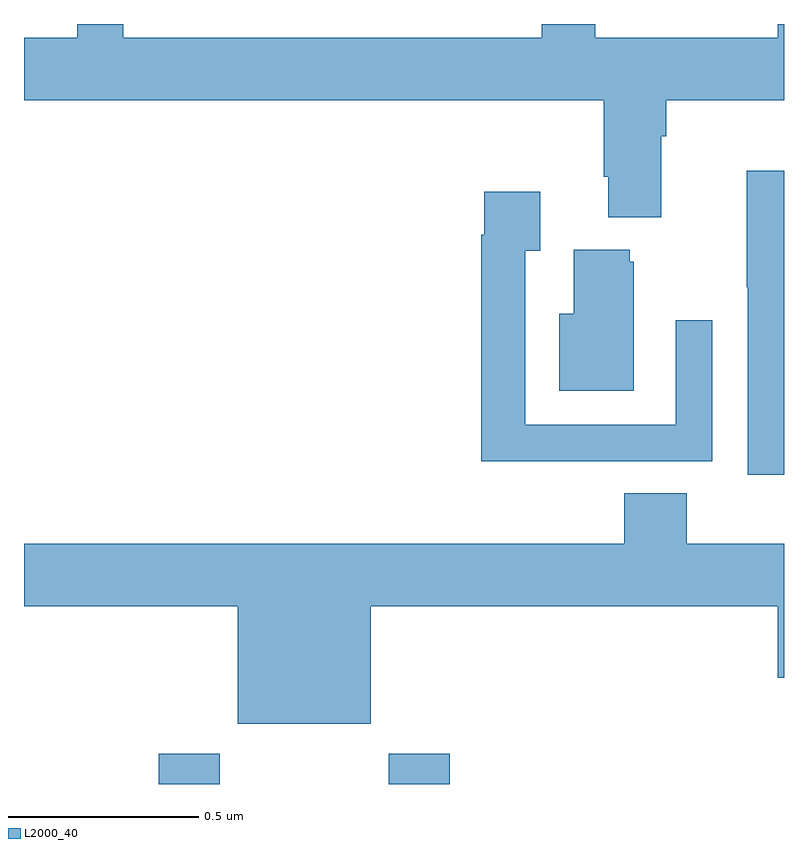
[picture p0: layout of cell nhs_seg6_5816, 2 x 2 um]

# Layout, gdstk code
import gdstk
lib = gdstk.Library(unit=1e-6, precision=1e-09)
def R(c, l, rs):  # rectangles x0, y0, x1, y1
    for r in rs: c.add(gdstk.rectangle(r[:2], r[2:], *l))
def P(c, l, *ps):  # polygons
    for p in ps: c.add(gdstk.Polygon(p, *l))
L2000_40 = (2000, 40)

nhs_seg6_5816 = lib.new_cell('nhs_seg6_5816')
R(nhs_seg6_5816, L2000_40, [(187.355,981.5,187.515,981.58), (187.96,981.5,188.12,981.58)])
P(nhs_seg6_5816, L2000_40, [(188.677,983.204),(188.69,983.204),(188.69,983.3),(189,983.3),(189,983.5),(188.984,983.5),(188.984,983.464),(188.503,983.464),(188.503,983.5),(188.363,983.5),(188.363,983.464),(187.261,983.464),(187.261,983.5),(187.14,983.5),(187.14,983.464),(187,983.464),(187,983.3),(188.525,983.3),(188.525,983.098),(188.537,983.098),(188.537,982.991),(188.677,982.991)],
  [(189,983.114),(188.902,983.114),(188.902,982.807),(188.904,982.807),(188.904,982.314),(189,982.314)],
  [(188.495,982.35),(188.811,982.35),(188.811,982.72),(188.715,982.72),(188.715,982.446),(188.319,982.446),(188.319,982.903),(188.359,982.903),(188.359,983.059),(188.211,983.059),(188.211,982.946),(188.203,982.946),(188.203,982.349),(188.495,982.349)],
  [(188.605,982.875),(188.594,982.875),(188.594,982.906),(188.447,982.906),(188.447,982.738),(188.408,982.738),(188.408,982.535),(188.605,982.535)],
  [(187.912,981.968),(188.984,981.968),(188.984,981.78),(189,981.78),(189,982.132),(188.744,982.132),(188.744,982.265),(188.579,982.265),(188.579,982.132),(187,982.132),(187,981.968),(187.562,981.968),(187.562,981.659),(187.912,981.659)])

lib.write_gds('nhs_seg6_5816.gds')
